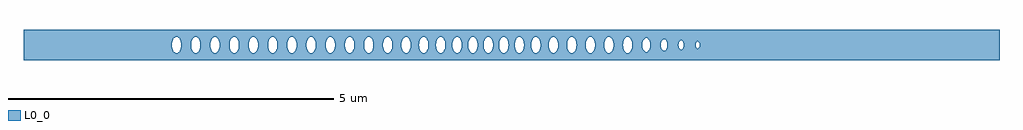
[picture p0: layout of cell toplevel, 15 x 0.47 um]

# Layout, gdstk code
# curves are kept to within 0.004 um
import gdstk
lib = gdstk.Library(unit=1e-6, precision=1e-09)
def P(c, l, *ps):  # polygons
    for p in ps: c.add(gdstk.Polygon(p, *l))
L0_0 = (0, 0)

toplevel = lib.new_cell('toplevel')
P(toplevel, L0_0, [(-4.629,0.016),(-4.623,0.054),(-4.607,0.093),(-4.607,0.234),(-7.5,0.234),(-7.5,-0.008),(-5.221,-0.008),(-5.216,0.047),(-5.198,0.093),(-5.175,0.119),(-5.148,0.128),(-5.114,0.112),(-5.09,0.075),(-5.078,0.032),(-5.077,-0.016),(-4.925,-0.016),(-4.922,0.039),(-4.909,0.081),(-4.888,0.112),(-4.853,0.128),(-4.826,0.119),(-4.803,0.093),(-4.785,0.047),(-4.78,0),(-4.785,-0.047),(-4.803,-0.093),(-4.826,-0.119),(-4.853,-0.128),(-4.879,-0.119),(-4.899,-0.098),(-4.914,-0.068),(-4.925,-0.016),(-5.077,-0.016),(-5.087,-0.068),(-5.102,-0.098),(-5.122,-0.119),(-5.148,-0.128),(-5.175,-0.119),(-5.195,-0.098),(-5.21,-0.068),(-5.221,-0.008),(-7.5,-0.008),(-7.5,-0.234),(-4.607,-0.234),(-4.607,-0.093),(-4.623,-0.054)],
  [(-4.6,0.103),(-4.584,0.119),(-4.557,0.128),(-4.522,0.112),(-4.496,0.068),(-4.485,-0.008),(-4.334,-0.008),(-4.329,0.047),(-4.308,0.098),(-4.284,0.121),(-4.261,0.128),(-4.248,0.125),(-4.223,0.108),(-4.203,0.075),(-4.191,0.032),(-4.189,-0.008),(-4.194,-0.047),(-4.212,-0.093),(-4.235,-0.119),(-4.261,-0.128),(-4.288,-0.119),(-4.308,-0.098),(-4.323,-0.068),(-4.334,-0.008),(-4.485,-0.008),(-4.501,-0.081),(-4.53,-0.119),(-4.557,-0.128),(-4.571,-0.125),(-4.592,-0.112),(-4.607,-0.093),(-4.607,-0.234),(-3.957,-0.234),(-3.957,-0.126),(-3.979,-0.125),(-4.005,-0.108),(-4.027,-0.068),(-4.038,-0.016),(-4.035,0.039),(-4.019,0.087),(-3.992,0.119),(-3.957,0.126),(-3.957,0.234),(-4.607,0.234),(-4.607,0.093)],
  [(-3.446,0.016),(-3.433,0.075),(-3.421,0.098),(-3.397,0.121),(-3.374,0.128),(-3.348,0.119),(-3.316,0.075),(-3.316,0.234),(-3.957,0.234),(-3.957,0.126),(-3.927,0.108),(-3.907,0.075),(-3.898,0.047),(-3.894,-0.016),(-3.742,-0.016),(-3.74,0.032),(-3.729,0.075),(-3.705,0.112),(-3.67,0.128),(-3.643,0.119),(-3.624,0.098),(-3.609,0.068),(-3.598,0.016),(-3.601,-0.039),(-3.614,-0.081),(-3.643,-0.119),(-3.67,-0.128),(-3.697,-0.119),(-3.72,-0.093),(-3.734,-0.061),(-3.742,-0.016),(-3.894,-0.016),(-3.898,-0.047),(-3.916,-0.093),(-3.939,-0.119),(-3.957,-0.126),(-3.957,-0.234),(-3.316,-0.234),(-3.316,-0.075),(-3.348,-0.119),(-3.374,-0.128),(-3.401,-0.119),(-3.421,-0.098),(-3.436,-0.068),(-3.446,-0.024)],
  [(-2.559,-0.024),(-2.558,0.234),(-3.316,0.234),(-3.316,0.074),(-3.304,0.032),(-3.303,-0.016),(-3.151,-0.016),(-3.148,0.039),(-3.135,0.081),(-3.114,0.112),(-3.079,0.128),(-3.052,0.119),(-3.029,0.093),(-3.011,0.047),(-3.007,-0.016),(-2.855,-0.016),(-2.853,0.032),(-2.842,0.075),(-2.818,0.112),(-2.783,0.128),(-2.756,0.119),(-2.737,0.098),(-2.724,0.075),(-2.711,0.016),(-2.713,-0.032),(-2.724,-0.075),(-2.748,-0.112),(-2.783,-0.128),(-2.81,-0.119),(-2.833,-0.093),(-2.847,-0.061),(-2.855,-0.016),(-3.007,-0.016),(-3.011,-0.047),(-3.029,-0.093),(-3.052,-0.119),(-3.079,-0.128),(-3.105,-0.119),(-3.125,-0.098),(-3.14,-0.068),(-3.151,-0.016),(-3.303,-0.016),(-3.316,-0.075),(-3.316,-0.234),(-2.558,-0.234)],
  [(-1.975,0.016),(-1.969,0.054),(-1.953,0.093),(-1.93,0.119),(-1.912,0.126),(-1.912,0.234),(-2.558,0.234),(-2.558,0.032),(-2.534,0.098),(-2.514,0.119),(-2.487,0.128),(-2.453,0.112),(-2.429,0.075),(-2.417,0.032),(-2.416,-0.016),(-2.265,-0.016),(-2.263,0.032),(-2.252,0.075),(-2.228,0.112),(-2.193,0.128),(-2.166,0.119),(-2.143,0.093),(-2.127,0.054),(-2.121,0.016),(-2.123,-0.032),(-2.134,-0.075),(-2.158,-0.112),(-2.193,-0.128),(-2.22,-0.119),(-2.243,-0.093),(-2.265,-0.016),(-2.416,-0.016),(-2.426,-0.068),(-2.441,-0.098),(-2.461,-0.119),(-2.487,-0.128),(-2.514,-0.119),(-2.534,-0.098),(-2.558,-0.033),(-2.558,-0.234),(-1.912,-0.234),(-1.912,-0.126),(-1.942,-0.108),(-1.962,-0.075),(-1.972,-0.039)],
  [(-1.421,0.016),(-1.408,0.075),(-1.376,0.119),(-1.349,0.128),(-1.336,0.125),(-1.303,0.098),(-1.303,0.234),(-1.912,0.234),(-1.912,0.126),(-1.876,0.119),(-1.85,0.087),(-1.834,0.039),(-1.831,-0.008),(-1.694,-0.008),(-1.689,0.047),(-1.671,0.093),(-1.648,0.119),(-1.621,0.128),(-1.595,0.119),(-1.575,0.098),(-1.56,0.068),(-1.549,0.016),(-1.552,-0.039),(-1.565,-0.081),(-1.586,-0.112),(-1.621,-0.128),(-1.648,-0.119),(-1.671,-0.093),(-1.689,-0.047),(-1.694,-0.008),(-1.831,-0.008),(-1.842,-0.068),(-1.857,-0.098),(-1.876,-0.119),(-1.912,-0.126),(-1.912,-0.234),(-1.303,-0.234),(-1.303,-0.098),(-1.323,-0.119),(-1.349,-0.128),(-1.384,-0.112),(-1.411,-0.068),(-1.421,-0.024)],
  [(-0.662,-0.047),(-0.667,0.008),(-0.658,0.06),(-0.658,0.234),(-1.303,0.234),(-1.303,0.098),(-1.282,0.047),(-1.277,-0.008),(-1.161,-0.008),(-1.156,0.047),(-1.138,0.093),(-1.115,0.119),(-1.088,0.128),(-1.062,0.119),(-1.039,0.093),(-1.021,0.047),(-1.016,-0.008),(-0.91,-0.008),(-0.905,0.047),(-0.887,0.093),(-0.864,0.119),(-0.837,0.128),(-0.811,0.119),(-0.791,0.098),(-0.776,0.068),(-0.765,0.008),(-0.768,-0.039),(-0.788,-0.093),(-0.811,-0.119),(-0.837,-0.128),(-0.864,-0.119),(-0.887,-0.093),(-0.905,-0.047),(-0.91,-0.008),(-1.016,-0.008),(-1.021,-0.047),(-1.039,-0.093),(-1.062,-0.119),(-1.088,-0.128),(-1.115,-0.119),(-1.135,-0.098),(-1.15,-0.068),(-1.161,-0.008),(-1.277,-0.008),(-1.288,-0.068),(-1.303,-0.098),(-1.303,-0.234),(-0.658,-0.234)],
  [(-0.19,0.016),(-0.186,0.047),(-0.168,0.093),(-0.145,0.119),(-0.128,0.126),(-0.128,0.234),(-0.658,0.234),(-0.658,0.061),(-0.644,0.093),(-0.621,0.119),(-0.594,0.128),(-0.581,0.125),(-0.559,0.112),(-0.533,0.068),(-0.524,0.032),(-0.522,-0.016),(-0.428,-0.016),(-0.425,0.039),(-0.412,0.081),(-0.391,0.112),(-0.356,0.128),(-0.329,0.119),(-0.306,0.093),(-0.29,0.054),(-0.283,0),(-0.29,-0.054),(-0.306,-0.093),(-0.329,-0.119),(-0.356,-0.128),(-0.382,-0.119),(-0.402,-0.098),(-0.417,-0.068),(-0.428,-0.016),(-0.522,-0.016),(-0.533,-0.068),(-0.548,-0.098),(-0.568,-0.119),(-0.594,-0.128),(-0.621,-0.119),(-0.633,-0.108),(-0.658,-0.062),(-0.658,-0.234),(-0.128,-0.234),(-0.128,-0.126),(-0.157,-0.108),(-0.177,-0.075),(-0.189,-0.032)],
  [(0.304,0.016),(0.308,0.047),(0.326,0.093),(0.34,0.112),(0.362,0.125),(0.375,0.128),(0.402,0.119),(0.422,0.098),(0.437,0.068),(0.437,0.234),(-0.128,0.234),(-0.128,0.126),(-0.096,0.121),(-0.072,0.098),(-0.051,0.047),(-0.046,-0.008),(0.05,-0.008),(0.055,0.047),(0.073,0.093),(0.096,0.119),(0.122,0.128),(0.149,0.119),(0.169,0.098),(0.186,0.061),(0.195,0.008),(0.19,-0.047),(0.172,-0.093),(0.149,-0.119),(0.122,-0.128),(0.096,-0.119),(0.076,-0.098),(0.061,-0.068),(0.05,-0.008),(-0.046,-0.008),(-0.057,-0.068),(-0.072,-0.098),(-0.092,-0.119),(-0.128,-0.126),(-0.128,-0.234),(0.437,-0.234),(0.437,-0.068),(0.422,-0.098),(0.402,-0.119),(0.375,-0.128),(0.349,-0.119),(0.329,-0.098),(0.314,-0.068),(0.304,-0.024)],
  [(1.144,-0.047),(1.139,0),(1.148,0.06),(1.148,0.234),(0.437,0.234),(0.437,0.067),(0.447,-0.016),(0.573,-0.016),(0.575,0.032),(0.586,0.075),(0.61,0.112),(0.645,0.128),(0.672,0.119),(0.698,0.087),(0.714,0.039),(0.717,-0.008),(0.854,-0.008),(0.859,0.047),(0.877,0.093),(0.9,0.119),(0.926,0.128),(0.953,0.119),(0.973,0.098),(0.988,0.068),(0.999,0.008),(0.994,-0.047),(0.976,-0.093),(0.953,-0.119),(0.926,-0.128),(0.9,-0.119),(0.88,-0.098),(0.865,-0.068),(0.854,-0.008),(0.717,-0.008),(0.715,-0.035),(0.698,-0.087),(0.672,-0.119),(0.645,-0.128),(0.618,-0.119),(0.595,-0.093),(0.581,-0.061),(0.573,-0.016),(0.447,-0.016),(0.437,-0.068),(0.437,-0.234),(1.148,-0.234)],
  [(1.714,0.016),(1.727,0.075),(1.759,0.119),(1.759,0.234),(1.148,0.234),(1.148,0.061),(1.162,0.093),(1.185,0.119),(1.212,0.128),(1.238,0.119),(1.258,0.098),(1.273,0.068),(1.282,0.032),(1.284,-0.016),(1.425,-0.016),(1.428,0.039),(1.441,0.081),(1.47,0.119),(1.497,0.128),(1.524,0.119),(1.547,0.093),(1.563,0.054),(1.57,0),(1.563,-0.054),(1.547,-0.093),(1.524,-0.119),(1.497,-0.128),(1.47,-0.119),(1.451,-0.098),(1.436,-0.068),(1.425,-0.016),(1.284,-0.016),(1.273,-0.068),(1.258,-0.098),(1.238,-0.119),(1.212,-0.128),(1.185,-0.119),(1.173,-0.108),(1.148,-0.062),(1.148,-0.234),(1.759,-0.234),(1.759,-0.119),(1.739,-0.098),(1.724,-0.068),(1.714,-0.024)],
  [(2.294,0.017),(2.299,0.044),(2.314,0.074),(2.332,0.089),(2.351,0.091),(2.351,0.234),(1.759,0.234),(1.759,0.119),(1.785,0.128),(1.799,0.125),(1.828,0.103),(1.853,0.047),(1.857,-0.014),(2.009,-0.014),(2.012,0.034),(2.023,0.07),(2.048,0.102),(2.071,0.11),(2.094,0.102),(2.114,0.08),(2.126,0.053),(2.133,0.014),(2.13,-0.034),(2.119,-0.07),(2.098,-0.099),(2.071,-0.11),(2.048,-0.102),(2.028,-0.08),(2.009,-0.014),(1.857,-0.014),(1.849,-0.061),(1.824,-0.108),(1.812,-0.119),(1.785,-0.128),(1.759,-0.119),(1.759,-0.234),(2.351,-0.234),(2.351,-0.091),(2.332,-0.089),(2.309,-0.067),(2.294,-0.023)],
  [(2.395,-0.023),(2.378,-0.071),(2.351,-0.091),(2.351,-0.234),(7.5,-0.234),(7.5,0.234),(2.351,0.234),(2.351,0.091),(2.367,0.083),(2.383,0.063),(2.395,0.023),(2.396,-0.009),(2.565,-0.009),(2.574,0.047),(2.589,0.067),(2.604,0.074),(2.625,0.067),(2.635,0.054),(2.647,0.023),(2.648,-0.003),(2.829,-0.003),(2.839,0.041),(2.859,0.056),(2.88,0.045),(2.892,0.014),(2.887,-0.033),(2.873,-0.052),(2.863,-0.056),(2.849,-0.052),(2.839,-0.041),(2.829,-0.003),(2.648,-0.003),(2.639,-0.047),(2.625,-0.067),(2.609,-0.074),(2.582,-0.06),(2.565,-0.009),(2.396,-0.009)])

lib.write_gds('toplevel.gds')
